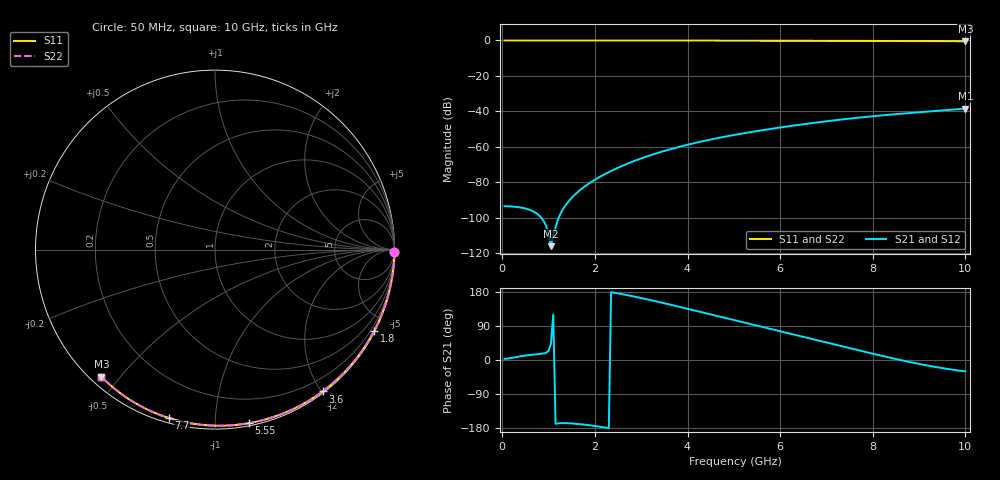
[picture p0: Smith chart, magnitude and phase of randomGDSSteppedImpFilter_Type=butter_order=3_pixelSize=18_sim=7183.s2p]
! freq	dB(S11)	phase(S11)	dB(S12)	phase(S12)
!  dB(S21)	phase(S21)	dB(S22)	phase(S22)
!S-par simulation data
#  GHz  S  DB  R 50
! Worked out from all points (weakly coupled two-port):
!   200 points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, 50 MHz to 10 GHz, reference 50 ohm
!   highest |S21| = -38.39 dB at 10 GHz (marker M1); lowest = -115.9 dB at 1.05 GHz (marker M2)
!   lowest |S11| = -0.4 dB at 10 GHz (marker M3), VSWR 38.84, Z = 1.54 - j22.3 ohm
!   |S11| at or under -10 dB: nowhere
!   |S22| runs from -0.4 to 0.0 dB; largest |S21 - S12| = 0
!   S11 on the Smith chart (normalised r, x): 50 MHz: open; 1.8 GHz: 0.04, -4.16; 3.6 GHz: 0.02, -2.01; 5.55 GHz: 0.02, -1.21; 7.7 GHz: 0.02, -0.76; 10 GHz: 0.03, -0.45
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0.05  -0.00 -0.8  -93.37 3.0  -93.37 3.0  -0.00 -0.8
0.55  -0.01 -8.4  -95.06 12.6  -95.06 12.6  -0.01 -8.4
1.05  -0.02 -15.9  -115.88 42.2  -115.88 42.2  -0.02 -15.9
1.75  -0.03 -26.3  -82.83 -170.2  -82.83 -170.2  -0.03 -26.3
1.8  -0.03 -27.0  -81.87 -170.9  -81.87 -170.9  -0.03 -27.0
1.9  -0.04 -28.5  -80.08 -172.4  -80.08 -172.4  -0.04 -28.5
2.05  -0.04 -30.7  -77.65 -175.0  -77.65 -175.0  -0.04 -30.7
2.25  -0.04 -33.6  -74.79 -178.8  -74.79 -178.8  -0.04 -33.6
2.55  -0.05 -38.0  -71.08 174.7  -71.08 174.7  -0.05 -38.0
2.95  -0.06 -43.7  -66.92 164.8  -66.92 164.8  -0.06 -43.7
3.4  -0.07 -50.0  -63.00 152.6  -63.00 152.6  -0.07 -50.0
3.6  -0.07 -52.8  -61.48 146.8  -61.48 146.8  -0.07 -52.8
3.9  -0.08 -57.0  -59.38 138.1  -59.38 138.1  -0.08 -57.0
4.3  -0.09 -62.4  -56.91 126.2  -56.91 126.2  -0.09 -62.4
5.05  -0.11 -72.4  -53.03 103.9  -53.03 103.9  -0.11 -72.4
5.55  -0.13 -78.9  -50.82 89.2  -50.82 89.2  -0.13 -78.9
6.1  -0.15 -85.9  -48.64 73.0  -48.64 73.0  -0.15 -85.9
6.7  -0.18 -93.3  -46.51 55.3  -46.51 55.3  -0.18 -93.3
7.7  -0.24 -105.4  -43.47 25.4  -43.47 25.4  -0.24 -105.4
8.35  -0.29 -113.0  -41.85 6.6  -41.85 6.6  -0.29 -113.0
9.15  -0.36 -122.2  -40.15 -13.9  -40.15 -13.9  -0.36 -122.2
10  -0.45 -131.8  -38.39 -30.2  -38.39 -30.2  -0.45 -131.8
